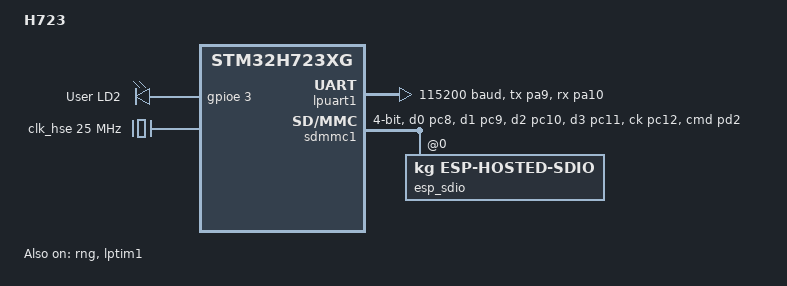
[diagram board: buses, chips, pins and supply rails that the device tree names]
/*
 * Copyright (c) 2023 STMicroelectronics
 *
 * SPDX-License-Identifier: Apache-2.0
 */
/dts-v1/;

#include <st/h7/stm32h723Xg.dtsi>
#include <st/h7/stm32h723vgtx-pinctrl.dtsi>
#include <mem.h>

/ {
	model = "H723";
	compatible = "st,h723";

	chosen {
		zephyr,flash = &flash0;
		zephyr,sram = &sram0;
		zephyr,console = &lpuart1;
		zephyr,shell-uart = &lpuart1;
        zephyr,cortex-m-idle-timer = &lptim1;
	};

	leds {
		compatible = "gpio-leds";
		led: led {
			gpios = <&gpioe 3 GPIO_ACTIVE_HIGH>;
			label = "User LD2";
		};
	};

	aliases {
		led = &led;
	};
};

&rng {
	status = "okay";
};

&clk_lsi {
	status = "okay";
};

&clk_hse {
	clock-frequency = <DT_FREQ_M(25)>;
	status = "okay";
};

&pll {
	div-m = <2>;
	mul-n = <44>;
	div-p = <1>;
	div-q = <2>;
	div-r = <2>;
	clocks = <&clk_hse>;
	status = "okay";
};

&rcc {
	clocks = <&pll>;
	clock-frequency = <550000000>;
	d1cpre = <1>;
	hpre = <2>;    /* HCLK: 275   MHz */
	d1ppre = <2>;  /* APB1: 137.5 MHz */
	d2ppre1 = <2>; /* APB2: 137.5 MHz */
	d2ppre2 = <2>; /* APB3: 137.5 MHz */
	d3ppre = <2>;  /* APB4: 137.5 MHz */
};

// zephyr_udc0: &usbotg_hs {
//         pinctrl-0 = <&usb_otg_hs_dm_pa11 &usb_otg_hs_dp_pa12>;
//         pinctrl-names = "default";
//         status = "okay";

//         cdc_acm_uart0: cdc_acm_uart0 {
//             compatible = "zephyr,cdc-acm-uart";
// 	        status = "okay";
//         };
// };

// &otghs_fs_phy {
// 	status = "okay";
// };


&lpuart1 {
    pinctrl-0 = <&lpuart1_tx_pa9 &lpuart1_rx_pa10>;
    pinctrl-names = "default";
    current-speed = <115200>;
    status = "okay";
};

// &dma2 {
//     status = "okay";
// };

&pinctrl {
    sdmmc1_d0_pc8: sdmmc1_d0_pc8 {
        pinmux = <STM32_PINMUX('C', 8, AF12)>;
        bias-pull-up;
        drive-push-pull;
		slew-rate = "very-high-speed";
    };
    sdmmc1_d1_pc9: sdmmc1_d1_pc9 {
        pinmux = <STM32_PINMUX('C', 9, AF12)>;
        bias-pull-up;
        drive-push-pull;
		slew-rate = "very-high-speed";
    };
    sdmmc1_d2_pc10: sdmmc1_d2_pc10 {
        pinmux = <STM32_PINMUX('C', 10, AF12)>;
        bias-pull-up;
        drive-push-pull;
		slew-rate = "very-high-speed";
    };
    sdmmc1_d3_pc11: sdmmc1_d3_pc11 {
        pinmux = <STM32_PINMUX('C', 11, AF12)>;
        bias-pull-up;
        drive-push-pull;
		slew-rate = "very-high-speed";
    };
    sdmmc1_cmd_pd2: sdmmc1_cmd_pd2 {
        pinmux = <STM32_PINMUX('D', 2, AF12)>;
        bias-pull-up;
        drive-push-pull;
		slew-rate = "very-high-speed";
    };
    sdmmc1_ck_pc12: sdmmc1_ck_pc12 {
        pinmux = <STM32_PINMUX('C', 12, AF12)>;
        drive-push-pull;
		slew-rate = "very-high-speed";
    };
};

&sdmmc1 {
    status = "okay";
    compatible = "st,stm32-sdio";
    pinctrl-0 = <&sdmmc1_d0_pc8 &sdmmc1_d1_pc9 &sdmmc1_d2_pc10 &sdmmc1_d3_pc11 &sdmmc1_ck_pc12 &sdmmc1_cmd_pd2>;
    pinctrl-names = "default";
    bus-width = <4>;
    interrupt-names = "event";
	hw-flow-control;

	max-bus-freq = <20000000>;
    min-bus-freq = <400000>;

	#address-cells = <1>;
    #size-cells = <0>;

	// dma-names = "rx", "tx";
	// dmas = <&dma2 4 4 0x20400 0x0>, /* Parametry: phandle, channel, slot, config, features */
    //        <&dma2 4 5 0x20400 0x0>;

    esp_sdio: esp_sdio@0 {
        compatible = "kg,esp-hosted-sdio";
        reg = <0>;
        status = "okay";
    };
};


stm32_lp_tick_source: &lptim1 {
        status = "okay";
};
